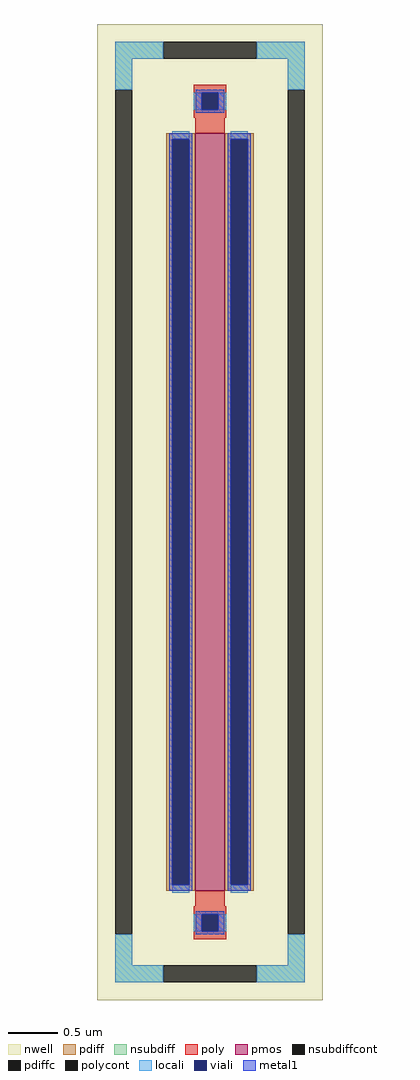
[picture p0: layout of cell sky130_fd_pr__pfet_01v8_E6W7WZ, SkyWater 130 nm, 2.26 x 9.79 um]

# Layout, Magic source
magic
tech sky130A
magscale 1 2
<< nwell >>
rect -226 -979 226 979
<< pmos >>
rect -30 -760 30 760
<< pdiff >>
rect -88 748 -30 760
rect -88 -748 -76 748
rect -42 -748 -30 748
rect -88 -760 -30 -748
rect 30 748 88 760
rect 30 -748 42 748
rect 76 -748 88 748
rect 30 -760 88 -748
<< pdiffc >>
rect -76 -748 -42 748
rect 42 -748 76 748
<< nsubdiff >>
rect -190 909 -94 943
rect 94 909 190 943
rect -190 847 -156 909
rect 156 847 190 909
rect -190 -909 -156 -847
rect 156 -909 190 -847
rect -190 -943 -94 -909
rect 94 -943 190 -909
<< nsubdiffcont >>
rect -94 909 94 943
rect -190 -847 -156 847
rect 156 -847 190 847
rect -94 -943 94 -909
<< poly >>
rect -33 841 33 857
rect -33 807 -17 841
rect 17 807 33 841
rect -33 791 33 807
rect -30 760 30 791
rect -30 -791 30 -760
rect -33 -807 33 -791
rect -33 -841 -17 -807
rect 17 -841 33 -807
rect -33 -857 33 -841
<< polycont >>
rect -17 807 17 841
rect -17 -841 17 -807
<< locali >>
rect -190 909 -94 943
rect 94 909 190 943
rect -190 847 -156 909
rect 156 847 190 909
rect -33 807 -17 841
rect 17 807 33 841
rect -76 748 -42 764
rect -76 -764 -42 -748
rect 42 748 76 764
rect 42 -764 76 -748
rect -33 -841 -17 -807
rect 17 -841 33 -807
rect -190 -909 -156 -847
rect 156 -909 190 -847
rect -190 -943 -94 -909
rect 94 -943 190 -909
<< viali >>
rect -17 807 17 841
rect -76 -748 -42 748
rect 42 -748 76 748
rect -17 -841 17 -807
<< metal1 >>
rect -29 841 29 847
rect -29 807 -17 841
rect 17 807 29 841
rect -29 801 29 807
rect -82 748 -36 760
rect -82 -748 -76 748
rect -42 -748 -36 748
rect -82 -760 -36 -748
rect 36 748 82 760
rect 36 -748 42 748
rect 76 -748 82 748
rect 36 -760 82 -748
rect -29 -807 29 -801
rect -29 -841 -17 -807
rect 17 -841 29 -807
rect -29 -847 29 -841
<< properties >>
string FIXED_BBOX -173 -926 173 926
string gencell sky130_fd_pr__pfet_01v8
string library sky130
string parameters w 7.6 l 0.3 m 1 nf 1 diffcov 100 polycov 100 guard 1 glc 1 grc 1 gtc 1 gbc 1 tbcov 100 rlcov 100 topc 1 botc 1 poverlap 0 doverlap 1 lmin 0.15 wmin 0.42 compatible {sky130_fd_pr__pfet_01v8  sky130_fd_pr__pfet_01v8_lvt sky130_fd_pr__pfet_01v8_hvt  sky130_fd_pr__pfet_g5v0d10v5} full_metal 1 viasrc 100 viadrn 100 viagate 100 viagb 0 viagr 0 viagl 0 viagt 0
<< end >>
